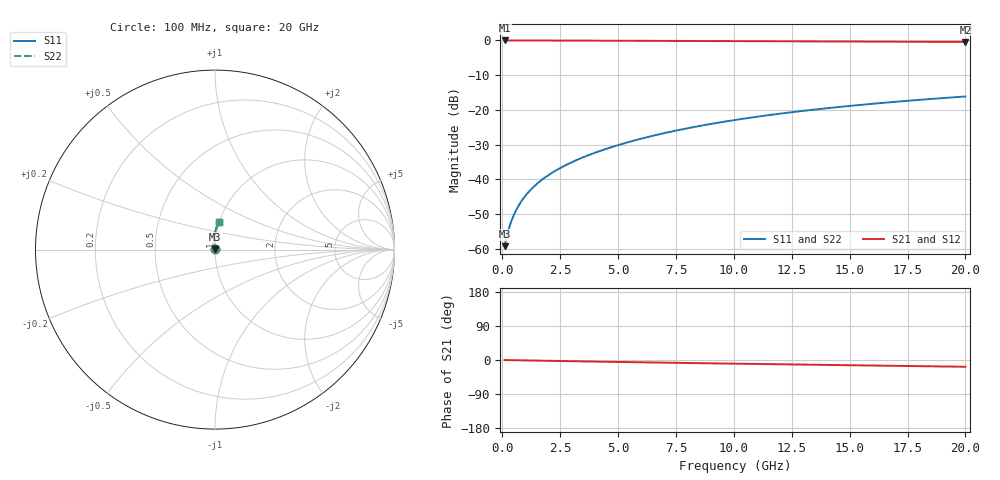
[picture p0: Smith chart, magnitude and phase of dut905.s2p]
! Touchstone file exported from HFSS 2024.1.0
!  File:  C:/UserFiles/LocalFiles/RDL_TSV_Batchsim/temp_RDL_top_905_1779935783.aedt
!  Generated:  10:39:34 AM May 28, 2026
!  Design:  RDL_top
!  Project:  temp_RDL_top_905_1779935783
!  Setup:  Setup1
!  Solution:  Sweep
! Variables:
!  dtsv = 10.80580581um
!  hbump = 3um
!  htsv = 84.18um
!  ldown = 100um
!  lrdl = 255.64um
!  p = 40
!  p1 = 49.05um
!  rhole = 1um
!  t = 450um
!  tdown = 3.915915916um
!  trdl = 4.87um
!  wdown = 15.38538539um
!  wrdl = 27.93um
# GHz S MA R 50.000000
! Terminal data exported
! Port[1] = Box2_T1
! Port[2] = Box2_T2
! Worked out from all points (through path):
!   200 points, 100 MHz to 20 GHz, reference 50 ohm
!   highest |S21| = -0.01 dB at 100 MHz (marker M1); lowest = -0.4 dB at 20 GHz (marker M2)
!   group delay of S21, straight-line fit = 2.43 ps
!   lowest |S11| = -59.3 dB at 100 MHz (marker M3), VSWR 1.00, Z = 50.1 + j0.0665 ohm
!   |S11| at or under -10 dB: start of sweep to end of sweep
!   |S22| runs from -59.3 to -16.2 dB; largest |S21 - S12| = 2.6e-15
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0.1  0.001084 37.8  0.9991 -0.1  0.9991 -0.1  0.001084 37.8
! Gamma 0 0 0 0
! Port Impedance 50 0 50 0
0.2  0.001545 53.3  0.999 -0.2  0.999 -0.2  0.001545 53.3
0.3  0.002028 62.0  0.999 -0.3  0.999 -0.3  0.002028 62.0
0.4  0.002531 67.8  0.9989 -0.4  0.9989 -0.4  0.002531 67.8
0.5  0.003051 71.8  0.9988 -0.6  0.9988 -0.6  0.003051 71.8
0.6  0.003584 74.8  0.9987 -0.7  0.9987 -0.7  0.003584 74.8
0.8  0.004672 78.9  0.9986 -0.9  0.9986 -0.9  0.004672 78.9
1.1  0.006339 82.6  0.9983 -1.2  0.9983 -1.2  0.006339 82.6
1.5  0.008607 85.7  0.9978 -1.6  0.9978 -1.6  0.008607 85.7
1.8  0.01034 87.3  0.9974 -1.9  0.9974 -1.9  0.01034 87.3
2.1  0.01209 88.6  0.9969 -2.3  0.9969 -2.3  0.01209 88.6
2.7  0.0157 90.6  0.9957 -2.9  0.9957 -2.9  0.0157 90.6
3.5  0.02074 92.4  0.9938 -3.7  0.9938 -3.7  0.02074 92.4
4.2  0.02539 93.5  0.992 -4.4  0.992 -4.4  0.02539 93.5
5  0.031 94.3  0.9897 -5.2  0.9897 -5.2  0.031 94.3
6.8  0.04459 94.7  0.9843 -6.9  0.9843 -6.9  0.04459 94.7
8.4  0.05755 94.0  0.9796 -8.3  0.9796 -8.3  0.05755 94.0
10.1  0.07183 92.6  0.9749 -9.7  0.9749 -9.7  0.07183 92.6
11.7  0.08551 91.0  0.9707 -11.1  0.9707 -11.1  0.08551 91.0
13.4  0.1001 89.1  0.9666 -12.5  0.9666 -12.5  0.1001 89.1
16.7  0.1282 85.3  0.9589 -15.2  0.9589 -15.2  0.1282 85.3
20  0.1557 81.6  0.9517 -17.8  0.9517 -17.8  0.1557 81.6
